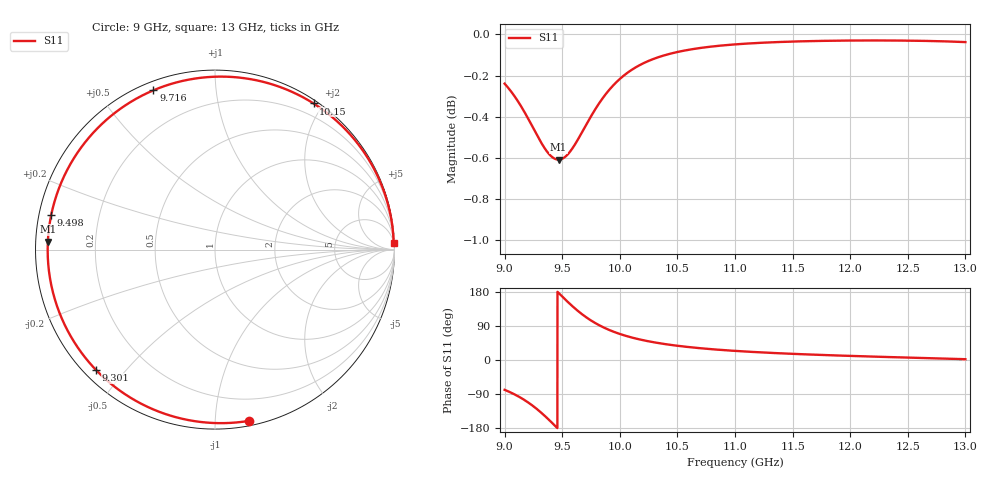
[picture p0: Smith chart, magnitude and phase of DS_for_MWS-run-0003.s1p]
! TOUCHSTONE file generated by CST DESIGN STUDIO
! Date and time: Tue Feb  4 12:47:53 2025
! Project name: C:\Work\MatlabApps\UnitCellOptimizationMatlab\CST\unitcell.cst
! Tree item: Tasks\Sweep1\SPara1\S-Parameters
! Header version: 2024
! Port assignment regex: !\s*Touchstone port\s*([0-9]+)\s*=\s*(CST MWS port|CST DES external port|CST DES block port)\s*(.+)\s* \(\"(.*)\"\)(\s*mode\s*([0-9]+))?.*
! Touchstone port assignment:
! Touchstone port 1 = CST DES external port 1 ("")
# GHz S MA R 50
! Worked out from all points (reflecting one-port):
!   4001 points, 9 GHz to 13 GHz, reference 50 ohm
!   lowest |S11| = -0.6 dB at 9.468 GHz (marker M1), VSWR 28.55, Z = 1.75 + j1.21 ohm
!   phase of S11 starts at -79 deg and turns -279 deg over the sweep
!   S11 on the Smith chart (normalised r, x): 9 GHz: 0.03, -1.22; 9.301 GHz: 0.03, -0.42; 9.498 GHz: 0.04, +0.10; 9.716 GHz: 0.04, +0.68; 10.15 GHz: 0.04, +1.88; 13 GHz: 6, +54
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9  0.9728 -78.7
9.074  0.9671 -88.8
9.17  0.9577 -105.2
9.238  0.9501 -119.4
9.301  0.943 -134.6
9.345  0.9385 -146.4
9.391  0.9349 -159.6
9.43  0.933 -171.3
9.468  0.9323 177.2
9.498  0.9327 168.2
9.5  0.9328 167.6
9.552  0.9353 152.2
9.611  0.9403 136.0
9.662  0.9456 123.2
9.716  0.9516 111.1
9.772  0.9575 100.2
9.834  0.9634 89.7
9.915  0.97 78.4
10  0.9754 68.7
10.148  0.9821 56.0
10.307  0.9867 46.1
10.5  0.9902 37.6
10.722  0.9926 30.5
11  0.9944 24.0
11.5  0.996 16.2
12  0.9966 10.8
12.5  0.9965 6.4
13  0.9957 2.1
